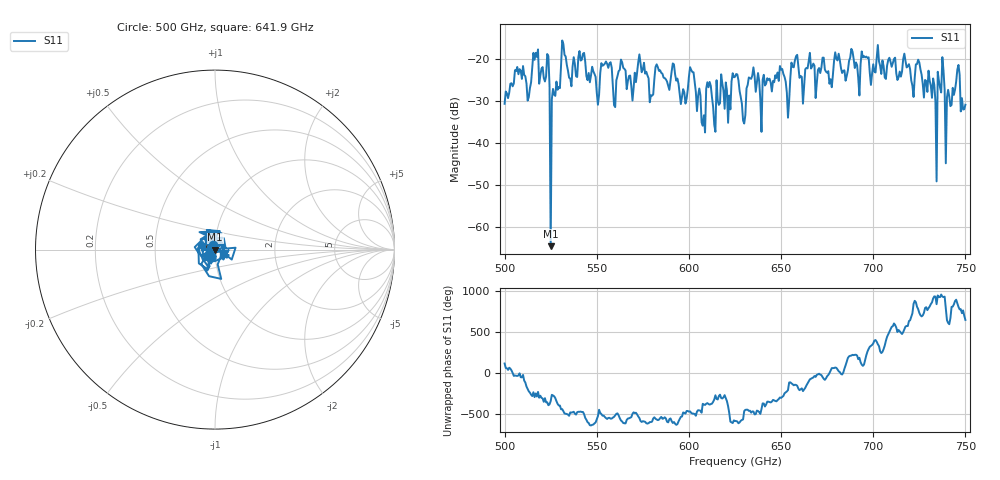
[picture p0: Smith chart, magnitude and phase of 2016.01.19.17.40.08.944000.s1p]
!Created with skrf (http://scikit-rf.org).
# GHz S RI R 50.0
!freq ReS11 ImS11
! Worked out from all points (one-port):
!   401 points, 500 GHz to 750 GHz, reference 50 ohm
!   lowest |S11| = -64.7 dB at 525 GHz (marker M1), VSWR 1.00, Z = 50.1 + j0.0195 ohm
!   |S11| at or under -10 dB: start of sweep to end of sweep
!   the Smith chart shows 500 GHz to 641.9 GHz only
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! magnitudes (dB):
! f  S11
! 500 GHz  -30.7
! 506.9 GHz  -21.9
! 513.1 GHz  -29.1
! 516.9 GHz  -18.5
! 523.1 GHz  -18.8
! 525 GHz  -64.7
! 526.2 GHz  -27.1
! 526.9 GHz  -28.5
! 531.2 GHz  -15.6
! 550 GHz  -28.0
! 562.5 GHz  -22.6
! 593.8 GHz  -24.7
! 601.9 GHz  -23.1
! 607.5 GHz  -35.9
! 610.6 GHz  -26.7
! 615 GHz  -25.1
! 625 GHz  -24.2
! 629.4 GHz  -34.7
! 633.8 GHz  -24.7
! 653.8 GHz  -34.0
! 656.2 GHz  -21.8
! 687.5 GHz  -19.6
! 718.8 GHz  -21.7
! 733.1 GHz  -26.2
! 736.2 GHz  -26.8
! 740.6 GHz  -27.3
! 745.6 GHz  -22.5
! 750 GHz  -30.9
